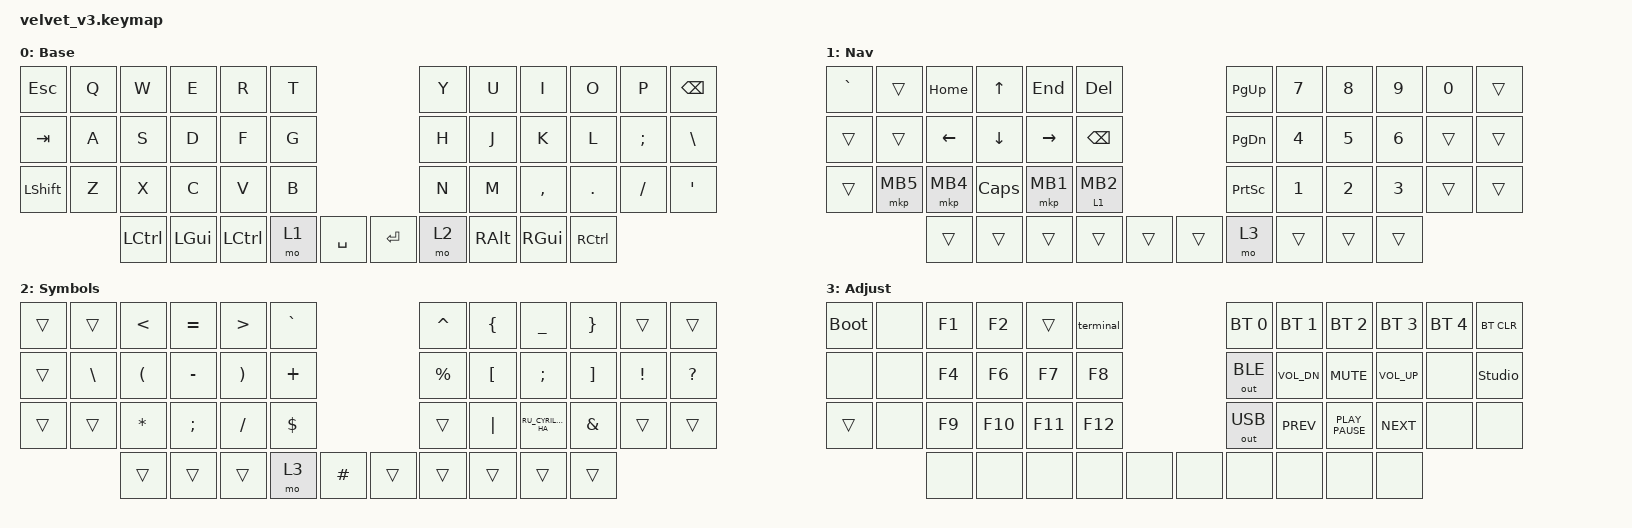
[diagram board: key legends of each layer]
#include "keys_ru.h"
#include <behaviors.dtsi>
#include <dt-bindings/zmk/bt.h>
#include <dt-bindings/zmk/keys.h>
#include <dt-bindings/zmk/outputs.h>
#include <dt-bindings/zmk/pointing.h>

/ {
    combos {
        compatible = "zmk,combos";

        ru_en {
            bindings = <&kp LG(SPACE)>;
            key-positions = <30>;
            layers = <2>;
        };

        alt_f4 {
            bindings = <&kp LA(F4)>;
            key-positions = <4>;
            layers = <3>;
        };

        mb3 {
            bindings = <&hold_mo_tap_mkp 1 MB3>;
            key-positions = <28 29>;
            layers = <1>;
        };
    };

    macros {
        terminal: terminal {
            compatible = "zmk,behavior-macro";
            #binding-cells = <0>;
            bindings = <&kp LA(LC(T))>;
            label = "TERMINAL";
        };
    };

    behaviors {
        hold_mo_tap_mkp: hold_mo_tap_mkp {
            compatible = "zmk,behavior-hold-tap";
            label = "HOLD_MO_TAP_MKP";
            bindings = <&mo>, <&mkp>;

            #binding-cells = <2>;
            tapping-term-ms = <200>;
            hold-while-undecided;
            hold-while-undecided-linger;
        };
    };

    keymap {
        compatible = "zmk,keymap";

        base {
            bindings = <
&kp ESC    &kp Q  &kp W      &kp E     &kp R             &kp T                        &kp Y  &kp U          &kp I          &kp O              &kp P      &kp BSPC
&kp TAB    &kp A  &kp S      &kp D     &kp F             &kp G                        &kp H  &kp J          &kp K          &kp L              &kp SEMI   &kp BSLH
&kp LSHFT  &kp Z  &kp X      &kp C     &kp V             &kp B                        &kp N  &kp M          &kp COMMA      &kp DOT            &kp SLASH  &kp APOS
                  &kp LCTRL  &kp LGUI  &kp LEFT_CONTROL  &mo 1  &kp SPACE    &kp RET  &mo 2  &kp RIGHT_ALT  &kp RIGHT_GUI  &kp RIGHT_CONTROL
            >;

            display-name = "Base";
        };

        nav {
            bindings = <
&kp GRAVE  &trans    &kp HOME        &kp UP_ARROW    &kp END          &kp DEL                                   &kp PG_UP        &kp N7        &kp N8        &kp N9        &kp N0  &trans
&trans     &trans    &kp LEFT_ARROW  &kp DOWN_ARROW  &kp RIGHT_ARROW  &kp BACKSPACE                             &kp PAGE_DOWN    &kp NUMBER_4  &kp NUMBER_5  &kp NUMBER_6  &trans  &trans
&trans     &mkp MB5  &mkp MB4        &kp CAPSLOCK    &mkp MB1         &hold_mo_tap_mkp 1 MB2                    &kp PRINTSCREEN  &kp NUMBER_1  &kp NUMBER_2  &kp NUMBER_3  &trans  &trans
                     &trans          &trans          &trans           &trans                  &trans    &trans  &mo 3            &trans        &trans        &trans
            >;

            display-name = "Nav";
        };

        sym {
            bindings = <
&trans  &trans    &kp LT    &kp EQUAL  &kp GT    &kp GRAVE                      &kp CARET  &kp LEFT_BRACE    &kp UNDER           &kp RIGHT_BRACE    &trans    &trans
&trans  &kp BSLH  &kp LPAR  &kp MINUS  &kp RPAR  &kp PLUS                       &kp PRCNT  &kp LEFT_BRACKET  &kp SEMI            &kp RIGHT_BRACKET  &kp EXCL  &kp QUESTION
&trans  &trans    &kp STAR  &kp SEMI   &kp FSLH  &kp DLLR                       &trans     &kp PIPE          &kp RU_CYRILLIC_HA  &kp AMPS           &trans    &trans
                  &trans    &trans     &trans    &mo 3      &kp HASH    &trans  &trans     &trans            &trans              &trans
            >;

            display-name = "Symbols";
        };

        adj {
            bindings = <
&bootloader  &none  &kp F1  &kp F2   &trans   &terminal                  &bt BT_SEL 0  &bt BT_SEL 1  &bt BT_SEL 2      &bt BT_SEL 3  &bt BT_SEL 4  &bt BT_CLR
&none        &none  &kp F4  &kp F6   &kp F7   &kp F8                     &out OUT_BLE  &kp C_VOL_DN  &kp K_MUTE        &kp C_VOL_UP  &none         &studio_unlock
&trans       &none  &kp F9  &kp F10  &kp F11  &kp F12                    &out OUT_USB  &kp K_PREV    &kp K_PLAY_PAUSE  &kp K_NEXT    &none         &none
                    &none   &none    &none    &none      &none    &none  &none         &none         &none             &none
            >;

            display-name = "Adjust";
        };
    };
};
